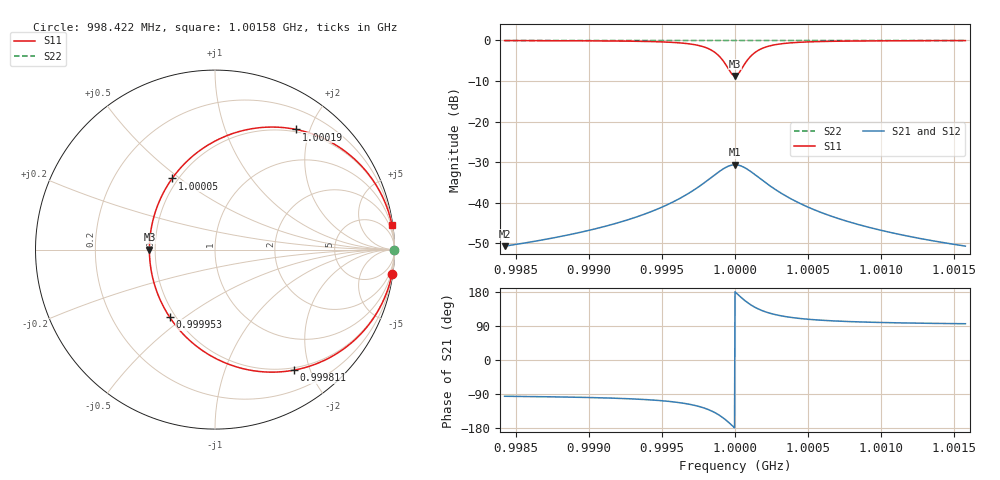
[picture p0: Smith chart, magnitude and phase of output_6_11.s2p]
! File generated for n1 = 6, n2 = 11
! b1 = 2.154435
! b2 = 0.001000
! Q0 = 10000.000000
! f0 = 1000000000.000000
! n = 1001
! rel_span = 10.000000
# Hz S RI R 50
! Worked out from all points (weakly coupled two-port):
!   1001 points, 998.422 MHz to 1.00158 GHz, reference 50 ohm
!   highest |S21| = -30.63 dB at 1 GHz (marker M1); lowest = -50.7 dB at 998.422 MHz (marker M2)
!   lowest |S11| = -8.7 dB at 1 GHz (marker M3), VSWR 2.15, Z = 23.2 + j0 ohm
!   |S11| at or under -10 dB: nowhere
!   |S22| runs from 0.0 to 0.0 dB; largest |S21 - S12| = 0
!   S11 on the Smith chart (normalised r, x): 998.422 MHz: 0, -15; 999.811 MHz: 0.46, -1.76; 999.953 MHz: 0.46, -0.44; 1.00005 GHz: 0.46, +0.47; 1.00019 GHz: 0.46, +1.79; 1.00158 GHz: 0, +15
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9.984223e8  0.9865 -0.1351  -0.000291 -0.00291  -0.000291 -0.00291  1 -6.27e-05
9.989492e8  0.9699 -0.2004  -0.000648 -0.00432  -0.000648 -0.00432  1 -9.3e-05
9.99249e8  0.9423 -0.2747  -0.00124 -0.00592  -0.00124 -0.00592  1 -0.000127
9.994762e8  0.8865 -0.377  -0.00245 -0.00812  -0.00245 -0.00812  0.9999 -0.000175
9.996781e8  0.7355 -0.5396  -0.0057 -0.0116  -0.0057 -0.0116  0.9999 -0.00025
9.997507e8  0.6095 -0.617  -0.00841 -0.0133  -0.00841 -0.0133  0.9998 -0.000286
9.998107e8  0.4404 -0.6716  -0.0121 -0.0145  -0.0121 -0.0145  0.9997 -0.000312
9.998896e8  0.0836 -0.6415  -0.0197 -0.0138  -0.0197 -0.0138  0.9996 -0.000298
9.999211e8  -0.0924 -0.5462  -0.0235 -0.0118  -0.0235 -0.0118  0.9995 -0.000254
9.999527e8  -0.2528 -0.3758  -0.027 -0.0081  -0.027 -0.0081  0.9994 -0.000174
1e9  -0.3655 0  -0.0294 0  -0.0294 0  0.9994 0
1.000025e9  -0.3315 0.213  -0.0287 0.00459  -0.0287 0.00459  0.9994 9.89e-05
1.00005e9  -0.2387 0.3964  -0.0267 0.00854  -0.0267 0.00854  0.9994 0.000184
1.000079e9  -0.0924 0.5462  -0.0235 0.0118  -0.0235 0.0118  0.9995 0.000254
1.00011e9  0.0835 0.6415  -0.0197 0.0138  -0.0197 0.0138  0.9996 0.000298
1.000145e9  0.2604 0.6804  -0.0159 0.0147  -0.0159 0.0147  0.9997 0.000316
1.000192e9  0.4512 0.6695  -0.0118 0.0144  -0.0118 0.0144  0.9997 0.000311
1.000252e9  0.6164 0.6138  -0.00827 0.0132  -0.00827 0.0132  0.9998 0.000285
1.000325e9  0.7395 0.5365  -0.00561 0.0116  -0.00561 0.0116  0.9999 0.000249
1.000527e9  0.8876 0.3753  -0.00242 0.00809  -0.00242 0.00809  0.9999 0.000174
1.001054e9  0.97 0.2  -0.000646 0.00431  -0.000646 0.00431  1 9.29e-05
1.001578e9  0.9865 0.1353  -0.000292 0.00292  -0.000292 0.00292  1 6.28e-05
